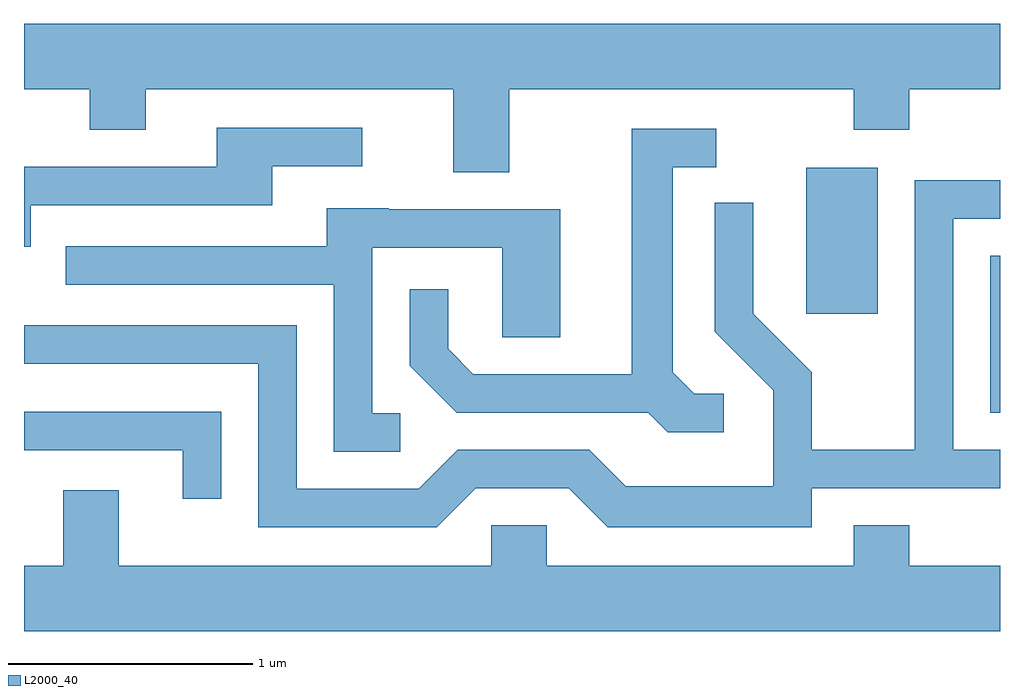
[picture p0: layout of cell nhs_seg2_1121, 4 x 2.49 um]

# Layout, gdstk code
import gdstk
lib = gdstk.Library(unit=1e-6, precision=1e-09)
def R(c, l, rs):  # rectangles x0, y0, x1, y1
    for r in rs: c.add(gdstk.rectangle(r[:2], r[2:], *l))
def P(c, l, *ps):  # polygons
    for p in ps: c.add(gdstk.Polygon(p, *l))
L2000_40 = (2000, 40)

nhs_seg2_1121 = lib.new_cell('nhs_seg2_1121')
R(nhs_seg2_1121, L2000_40, [(221.571,1044.771,221.611,1045.414), (220.816,1045.176,221.109,1045.774)])
P(nhs_seg2_1121, L2000_40, [(219.599,1046.096),(221.011,1046.096),(221.011,1045.931),(221.239,1045.931),(221.239,1046.096),(221.611,1046.096),(221.611,1046.364),(217.611,1046.364),(217.611,1046.096),(217.881,1046.096),(217.881,1045.931),(218.109,1045.931),(218.109,1046.096),(219.371,1046.096),(219.371,1045.756),(219.599,1045.756)],
  [(217.639,1045.621),(218.629,1045.621),(218.629,1045.781),(218.998,1045.781),(218.998,1045.939),(218.401,1045.939),(218.401,1045.779),(217.611,1045.779),(217.611,1045.451),(217.639,1045.451)],
  [(220.478,1044.849),(220.357,1044.849),(220.269,1044.937),(220.269,1045.776),(220.448,1045.776),(220.448,1045.934),(220.101,1045.934),(220.101,1044.929),(219.452,1044.929),(219.349,1045.032),(219.349,1045.277),(219.191,1045.277),(219.191,1044.964),(219.384,1044.771),(220.169,1044.771),(220.249,1044.691),(220.478,1044.691)],
  [(219.462,1044.461),(219.844,1044.461),(220.004,1044.301),(220.839,1044.301),(220.839,1044.461),(221.611,1044.461),(221.611,1044.619),(221.419,1044.619),(221.419,1045.566),(221.611,1045.566),(221.611,1045.724),(221.261,1045.724),(221.261,1044.619),(220.839,1044.619),(220.839,1044.937),(220.599,1045.177),(220.599,1045.632),(220.441,1045.632),(220.441,1045.103),(220.681,1044.863),(220.681,1044.469),(220.077,1044.469),(219.927,1044.619),(219.389,1044.619),(219.229,1044.459),(218.729,1044.459),(218.729,1045.129),(217.611,1045.129),(217.611,1044.971),(218.571,1044.971),(218.571,1044.301),(219.302,1044.301)],
  [(219.153,1044.769),(219.039,1044.769),(219.039,1045.446),(219.571,1045.446),(219.571,1045.081),(219.809,1045.081),(219.809,1045.604),(219.105,1045.604),(219.105,1045.609),(218.851,1045.609),(218.851,1045.454),(217.783,1045.454),(217.783,1045.296),(218.881,1045.296),(218.881,1044.611),(219.153,1044.611)],
  [(218.419,1044.774),(217.611,1044.774),(217.611,1044.616),(218.261,1044.616),(218.261,1044.418),(218.419,1044.418)],
  [(221.611,1044.144),(221.239,1044.144),(221.239,1044.309),(221.011,1044.309),(221.011,1044.144),(219.754,1044.144),(219.754,1044.309),(219.526,1044.309),(219.526,1044.144),(217.999,1044.144),(217.999,1044.454),(217.771,1044.454),(217.771,1044.144),(217.611,1044.144),(217.611,1043.876),(221.611,1043.876)])

lib.write_gds('nhs_seg2_1121.gds')
